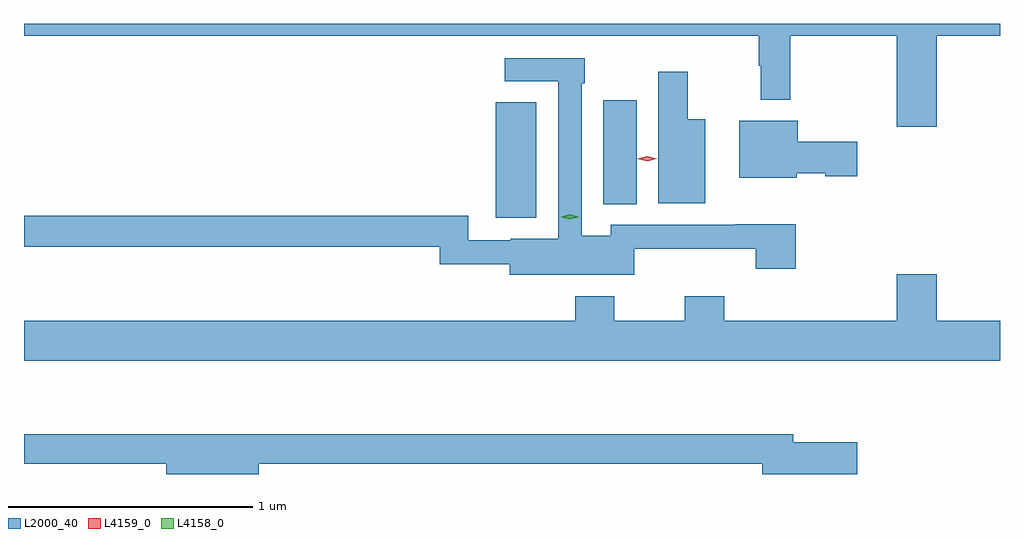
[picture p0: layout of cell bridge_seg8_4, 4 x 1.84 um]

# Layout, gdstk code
import gdstk
lib = gdstk.Library(unit=1e-6, precision=1e-09)
def R(c, l, rs):  # rectangles x0, y0, x1, y1
    for r in rs: c.add(gdstk.rectangle(r[:2], r[2:], *l))
def P(c, l, *ps):  # polygons
    for p in ps: c.add(gdstk.Polygon(p, *l))
L2000_40 = (2000, 40)
L4158_0 = (4158, 0)
L4159_0 = (4159, 0)

bridge_seg8_4 = lib.new_cell('bridge_seg8_4')
R(bridge_seg8_4, L2000_40, [(990.536,1163.705,990.703,1164.179), (990.977,1163.761,991.114,1164.187)])
P(bridge_seg8_4, L2000_40, [(992.344,1164.452),(992.603,1164.452),(992.603,1164.5),(988.603,1164.5),(988.603,1164.452),(991.615,1164.452),(991.615,1164.329),(991.623,1164.329),(991.623,1164.189),(991.744,1164.189),(991.744,1164.452),(992.18,1164.452),(992.18,1164.078),(992.344,1164.078)],
  [(991.104,1163.579),(991.601,1163.579),(991.601,1163.496),(991.766,1163.496),(991.766,1163.678),(991.517,1163.678),(991.517,1163.676),(991.008,1163.676),(991.008,1163.632),(990.888,1163.632),(990.888,1164.257),(990.901,1164.257),(990.901,1164.36),(990.573,1164.36),(990.573,1164.264),(990.792,1164.264),(990.792,1163.62),(990.597,1163.62),(990.597,1163.613),(990.423,1163.613),(990.423,1163.714),(988.603,1163.714),(988.603,1163.586),(990.307,1163.586),(990.307,1163.515),(990.593,1163.515),(990.593,1163.471),(991.104,1163.471)],
  [(991.396,1164.109),(991.324,1164.109),(991.324,1164.304),(991.202,1164.304),(991.202,1163.765),(991.396,1163.765)],
  [(991.77,1163.888),(991.887,1163.888),(991.887,1163.876),(992.017,1163.876),(992.017,1164.018),(991.774,1164.018),(991.774,1164.103),(991.535,1164.103),(991.535,1163.87),(991.77,1163.87)],
  [(992.603,1163.284),(992.344,1163.284),(992.344,1163.473),(992.18,1163.473),(992.18,1163.284),(991.472,1163.284),(991.472,1163.383),(991.312,1163.383),(991.312,1163.284),(991.023,1163.284),(991.023,1163.383),(990.863,1163.383),(990.863,1163.284),(988.603,1163.284),(988.603,1163.12),(992.603,1163.12)],
  [(989.566,1162.698),(991.628,1162.698),(991.628,1162.655),(992.017,1162.655),(992.017,1162.785),(991.756,1162.785),(991.756,1162.819),(988.603,1162.819),(988.603,1162.698),(989.186,1162.698),(989.186,1162.655),(989.566,1162.655)])
P(bridge_seg8_4, L4158_0, [(990.84,1163.699),(990.806,1163.708),(990.805,1163.709),(990.806,1163.709),(990.84,1163.719),(990.875,1163.709),(990.875,1163.709),(990.875,1163.708)])
P(bridge_seg8_4, L4159_0, [(991.157,1163.938),(991.117,1163.948),(991.117,1163.948),(991.117,1163.948),(991.157,1163.958),(991.197,1163.948),(991.197,1163.948),(991.197,1163.947)])

lib.write_gds('bridge_seg8_4.gds')
